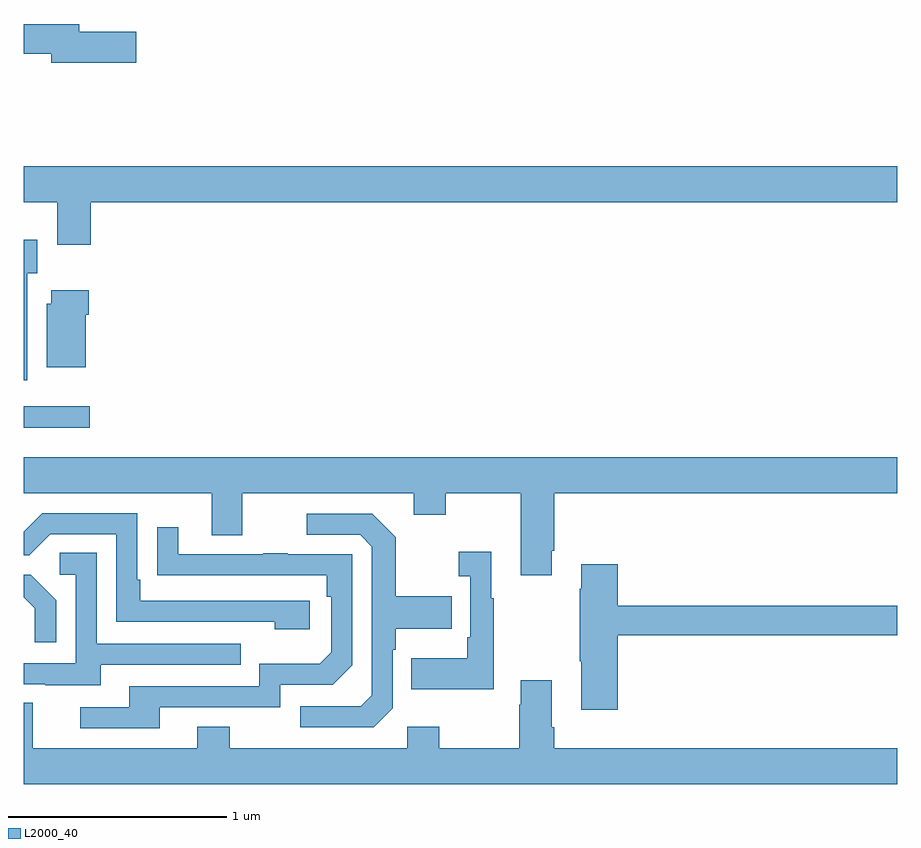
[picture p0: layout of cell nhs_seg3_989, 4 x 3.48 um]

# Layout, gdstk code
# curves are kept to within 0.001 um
import gdstk
lib = gdstk.Library(unit=1e-6, precision=1e-09)
def R(c, l, rs):  # rectangles x0, y0, x1, y1
    for r in rs: c.add(gdstk.rectangle(r[:2], r[2:], *l))
def P(c, l, *ps):  # polygons
    for p in ps: c.add(gdstk.Polygon(p, *l))
L2000_40 = (2000, 40)

nhs_seg3_989 = lib.new_cell('nhs_seg3_989')
R(nhs_seg3_989, L2000_40, [(161,746.504,161.302,746.601)])
P(nhs_seg3_989, L2000_40, [(161.515,748.316),(161.254,748.316),(161.254,748.352),(161,748.352),(161,748.216),(161.126,748.216),(161.126,748.174),(161.515,748.174)],
  [(161.306,747.536),(165,747.536),(165,747.7),(161,747.7),(161,747.536),(161.153,747.536),(161.153,747.342),(161.306,747.342)],
  [(161.017,747.21),(161.062,747.21),(161.062,747.364),(161,747.364),(161,746.721),(161.017,746.721)],
  [(161.284,747.02),(161.297,747.02),(161.297,747.133),(161.126,747.133),(161.126,747.072),(161.105,747.072),(161.105,746.78),(161.284,746.78)],
  [(163.417,745.939),(163.43,745.939),(163.43,746.204),(165,746.204),(165,746.368),(161,746.368),(161,746.204),(161.861,746.204),(161.861,746.01),(162.001,746.01),(162.001,746.204),(162.785,746.204),(162.785,746.105),(162.933,746.105),(162.933,746.204),(163.277,746.204),(163.277,745.827),(163.417,745.827)],
  [(162.31,745.71),(161.533,745.71),(161.533,745.807),(161.52,745.807),(161.52,746.112),(161.085,746.112),(161,746.027),(161,745.92),(161.025,745.92),(161.121,746.016),(161.424,746.016),(161.424,745.614),(162.149,745.614),(162.149,745.58),(162.31,745.58)],
  [(162.69,745.218),(162.69,745.487),(162.703,745.487),(162.703,745.583),(162.959,745.583),(162.959,745.731),(162.703,745.731),(162.703,746.003),(162.597,746.109),(162.297,746.109),(162.297,746.013),(162.54,746.013),(162.594,745.959),(162.594,745.278),(162.543,745.227),(162.267,745.227),(162.267,745.131),(162.603,745.131)],
  [(161.623,745.224),(162.174,745.224),(162.174,745.326),(162.414,745.326),(162.504,745.416),(162.504,745.923),(162.209,745.923),(162.209,745.928),(162.097,745.928),(162.097,745.923),(161.707,745.923),(161.707,746.047),(161.611,746.047),(161.611,745.828),(162.388,745.827),(162.388,745.73),(162.408,745.73),(162.408,745.476),(162.355,745.423),(162.078,745.423),(162.078,745.32),(161.483,745.32),(161.483,745.224),(161.259,745.224),(161.259,745.128),(161.623,745.128)],
  [(163.153,745.723),(163.141,745.723),(163.141,745.936),(162.993,745.936),(162.993,745.823),(163.044,745.823),(163.044,745.543),(163.032,745.543),(163.032,745.447),(162.775,745.447),(162.775,745.307),(163.153,745.307)],
  [(161.353,745.419),(161.993,745.419),(161.993,745.515),(161.334,745.515),(161.334,745.931),(161.166,745.931),(161.166,745.83),(161.238,745.83),(161.238,745.425),(161,745.425),(161,745.329),(161.099,745.329),(161.099,745.325),(161.353,745.325)],
  [(163.721,745.552),(165,745.552),(165,745.688),(163.721,745.688),(163.721,745.879),(163.553,745.879),(163.553,745.766),(163.546,745.766),(163.546,745.435),(163.553,745.435),(163.553,745.212),(163.721,745.212)],
  [(161.148,745.714),(161.032,745.83),(161,745.83),(161,745.728),(161.051,745.677),(161.051,745.521),(161.148,745.521)],
  [(165,745.036),(163.43,745.036),(163.43,745.132),(163.417,745.132),(163.417,745.348),(163.277,745.348),(163.277,745.235),(163.27,745.235),(163.27,745.036),(162.903,745.036),(162.903,745.135),(162.756,745.135),(162.756,745.036),(161.943,745.036),(161.943,745.135),(161.795,745.135),(161.795,745.036),(161.041,745.036),(161.041,745.244),(161,745.244),(161,744.872),(165,744.872)])

lib.write_gds('nhs_seg3_989.gds')
